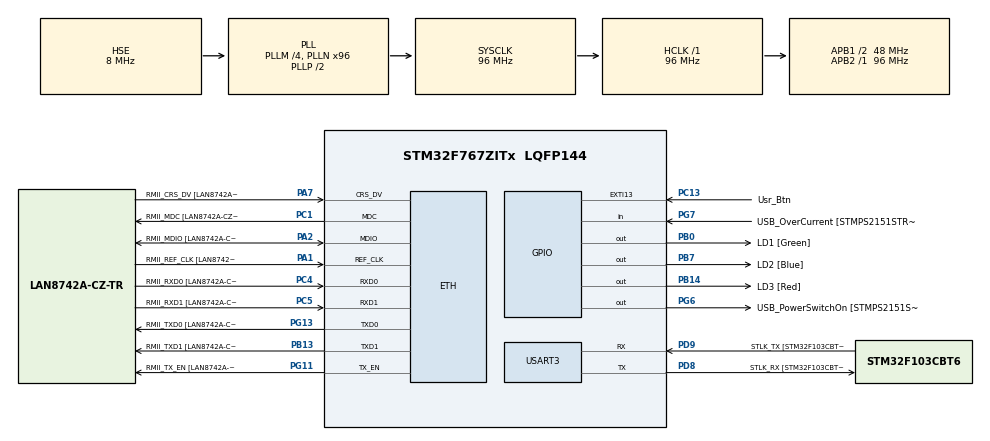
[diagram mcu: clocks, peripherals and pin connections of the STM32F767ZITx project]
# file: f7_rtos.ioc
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ETH.MediaInterface=ETH_MEDIA_INTERFACE_RMII
ETH.PHY_Name=LAN8742A_PHY_ADDRESS
ETH.PHY_Value=0
ETH.PhyAddress=0
FREERTOS.Tasks01=defaultTask,0,128,StartDefaultTask,Default,NULL
Mcu.Family=STM32F7
Mcu.Name=STM32F767ZITx
Mcu.Package=LQFP144
NVIC.EXTI15_10_IRQn=true\:5\:0\:false\:false\:true\:true\:true
NVIC.PriorityGroup=NVIC_PRIORITYGROUP_4
NVIC.TIM1_UP_TIM10_IRQn=true\:0\:0\:false\:false\:true\:false\:false
NVIC.TimeBase=TIM1_UP_TIM10_IRQn
NVIC.TimeBaseIP=TIM1
PA1.GPIO_Label=RMII_REF_CLK [LAN8742A-CZ-TR_REFCLK0]
PA1.Mode=RMII
PA1.Signal=ETH_REF_CLK
PA10.GPIO_Label=USB_ID
PA10.Signal=USB_OTG_FS_ID
PA11.GPIO_Label=USB_DM
PA11.Signal=USB_OTG_FS_DM
PA12.GPIO_Label=USB_DP
PA12.Signal=USB_OTG_FS_DP
PA13.GPIO_Label=TMS
PA13.Mode=Serial_Wire
PA13.Signal=SYS_JTMS-SWDIO
PA14.GPIO_Label=TCK
PA14.Mode=Serial_Wire
PA14.Signal=SYS_JTCK-SWCLK
PA2.GPIO_Label=RMII_MDIO [LAN8742A-CZ-TR_MDIO]
PA2.Mode=RMII
PA2.Signal=ETH_MDIO
PA7.GPIO_Label=RMII_CRS_DV [LAN8742A-CZ-TR_CRS_DV]
PA7.Mode=RMII
PA7.Signal=ETH_CRS_DV
PA8.GPIO_Label=USB_SOF [TP1]
PA8.Signal=USB_OTG_FS_SOF
PA9.GPIO_Label=USB_VBUS
PA9.Signal=USB_OTG_FS_VBUS
PB0.GPIO_Label=LD1 [Green]
PB0.Signal=GPIO_Output
PB13.GPIO_Label=RMII_TXD1 [LAN8742A-CZ-TR_TXD1]
PB13.Mode=RMII
PB13.Signal=ETH_TXD1
PB14.GPIO_Label=LD3 [Red]
PB14.Signal=GPIO_Output
PB3.GPIO_Label=SWO
PB3.Signal=SYS_JTDO-SWO
PB7.GPIO_Label=LD2 [Blue]
PB7.Signal=GPIO_Output
PC1.GPIO_Label=RMII_MDC [LAN8742A-CZ-TR_MDC]
PC1.Mode=RMII
PC1.Signal=ETH_MDC
PC13.GPIO_Label=Usr_Btn
PC13.GPIO_ModeDefaultEXTI=GPIO_MODE_IT_RISING
PC13.Signal=GPXTI13
PC14/OSC32_IN.Mode=LSE-External-Oscillator
PC14/OSC32_IN.Signal=RCC_OSC32_IN
PC15/OSC32_OUT.Mode=LSE-External-Oscillator
PC15/OSC32_OUT.Signal=RCC_OSC32_OUT
PC4.GPIO_Label=RMII_RXD0 [LAN8742A-CZ-TR_RXD0]
PC4.Mode=RMII
PC4.Signal=ETH_RXD0
PC5.GPIO_Label=RMII_RXD1 [LAN8742A-CZ-TR_RXD1]
PC5.Mode=RMII
PC5.Signal=ETH_RXD1
PD8.GPIO_Label=STLK_RX [STM32F103CBT6_PA3]
PD8.Mode=Asynchronous
PD8.Signal=USART3_TX
PD9.GPIO_Label=STLK_TX [STM32F103CBT6_PA2]
PD9.Mode=Asynchronous
PD9.Signal=USART3_RX
PG11.GPIO_Label=RMII_TX_EN [LAN8742A-CZ-TR_TXEN]
PG11.Mode=RMII
PG11.Signal=ETH_TX_EN
PG13.GPIO_Label=RMII_TXD0 [LAN8742A-CZ-TR_TXD0]
PG13.Mode=RMII
PG13.Signal=ETH_TXD0
PG6.GPIO_Label=USB_PowerSwitchOn [STMPS2151STR_EN]
PG6.Signal=GPIO_Output
PG7.GPIO_Label=USB_OverCurrent [STMPS2151STR_FAULT]
PG7.Signal=GPIO_Input
PH0/OSC_IN.GPIO_Label=MCO [STM32F103CBT6_PA8]
PH0/OSC_IN.Mode=HSE-External-Clock-Source
PH0/OSC_IN.Signal=RCC_OSC_IN
PH1/OSC_OUT.Mode=HSE-External-Clock-Source
PH1/OSC_OUT.Signal=RCC_OSC_OUT
ProjectManager.HeapSize=0x200
ProjectManager.StackSize=0x400
ProjectManager.TargetToolchain=TrueSTUDIO
RCC.48MHZClocksFreq_Value=24000000
RCC.AHBFreq_Value=96000000
RCC.APB1CLKDivider=RCC_HCLK_DIV2
RCC.APB1Freq_Value=48000000
RCC.APB1TimFreq_Value=96000000
RCC.APB2Freq_Value=96000000
RCC.APB2TimFreq_Value=96000000
RCC.CortexFreq_Value=96000000
RCC.HCLKFreq_Value=96000000
RCC.HSE_VALUE=8000000
RCC.HSI_VALUE=16000000
RCC.PLLM=4
RCC.PLLMUL=RCC_PLL_MUL9
RCC.PLLN=96
RCC.PLLQ=4
RCC.PLLSourceVirtual=RCC_PLLSOURCE_HSE
RCC.PRESCALERUSB=RCC_USBCLKSOURCE_PLL_DIV1_5
RCC.SYSCLKFreq_VALUE=96000000
RCC.SYSCLKSource=RCC_SYSCLKSOURCE_PLLCLK
RCC.SYSCLKSourceVirtual=RCC_SYSCLKSOURCE_PLLCLK
RCC.USBFreq_Value=48000000
RCC.VCOOutputFreq_Value=192000000
USART3.VirtualMode-Asynchronous=VM_ASYNC
VP_FREERTOS_VS_ENABLE.Mode=Enabled
VP_SYS_VS_tim1.Mode=TIM1
board=NUCLEO-F767ZI

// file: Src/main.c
/* USER CODE BEGIN Header */
/**
  ******************************************************************************
  * @file           : main.c
  * @brief          : Main program body
  ******************************************************************************
  * This notice applies to any and all portions of this file
  * that are not between comment pairs USER CODE BEGIN and
  * USER CODE END. Other portions of this file, whether
  * inserted by the user or by software development tools
  * are owned by their respective copyright owners.
  *
  * Copyright (c) 2019 STMicroelectronics International N.V.
  * All rights reserved.
  *
  * Redistribution and use in source and binary forms, with or without
  * modification, are permitted, provided that the following conditions are met:
  *
  * 1. Redistribution of source code must retain the above copyright notice,
  *    this list of conditions and the following disclaimer.
  * 2. Redistributions in binary form must reproduce the above copyright notice,
  *    this list of conditions and the following disclaimer in the documentation
  *    and/or other materials provided with the distribution.
  * 3. Neither the name of STMicroelectronics nor the names of other
  *    contributors to this software may be used to endorse or promote products
  *    derived from this software without specific written permission.
  * 4. This software, including modifications and/or derivative works of this
  *    software, must execute solely and exclusively on microcontroller or
  *    microprocessor devices manufactured by or for STMicroelectronics.
  * 5. Redistribution and use of this software other than as permitted under
  *    this license is void and will automatically terminate your rights under
  *    this license.
  *
  * THIS SOFTWARE IS PROVIDED BY STMICROELECTRONICS AND CONTRIBUTORS "AS IS"
  * AND ANY EXPRESS, IMPLIED OR STATUTORY WARRANTIES, INCLUDING, BUT NOT
  * LIMITED TO, THE IMPLIED WARRANTIES OF MERCHANTABILITY, FITNESS FOR A
  * PARTICULAR PURPOSE AND NON-INFRINGEMENT OF THIRD PARTY INTELLECTUAL PROPERTY
  * RIGHTS ARE DISCLAIMED TO THE FULLEST EXTENT PERMITTED BY LAW. IN NO EVENT
  * SHALL STMICROELECTRONICS OR CONTRIBUTORS BE LIABLE FOR ANY DIRECT, INDIRECT,
  * INCIDENTAL, SPECIAL, EXEMPLARY, OR CONSEQUENTIAL DAMAGES (INCLUDING, BUT NOT
  * LIMITED TO, PROCUREMENT OF SUBSTITUTE GOODS OR SERVICES; LOSS OF USE, DATA,
  * OR PROFITS; OR BUSINESS INTERRUPTION) HOWEVER CAUSED AND ON ANY THEORY OF
  * LIABILITY, WHETHER IN CONTRACT, STRICT LIABILITY, OR TORT (INCLUDING
  * NEGLIGENCE OR OTHERWISE) ARISING IN ANY WAY OUT OF THE USE OF THIS SOFTWARE,
  * EVEN IF ADVISED OF THE POSSIBILITY OF SUCH DAMAGE.
  *
  ******************************************************************************
  */
/* USER CODE END Header */

#include "main.h"
#include "cmsis_os.h"

ETH_HandleTypeDef heth;

UART_HandleTypeDef huart3;

osThreadId defaultTaskHandle;
/* USER CODE BEGIN PV */
int delaytime = 500 / portTICK_PERIOD_MS;
uint16_t ledBank[] = {GPIO_PIN_0, GPIO_PIN_14, GPIO_PIN_7};
int idx = 0;
int state = 0;
SemaphoreHandle_t btnPressed;
/* USER CODE END PV */

void SystemClock_Config(void);
static void MX_GPIO_Init(void);
static void MX_ETH_Init(void);
static void MX_USART3_UART_Init(void);
void StartDefaultTask(void const * argument);

/* USER CODE BEGIN PFP */
void blinkRed();
void blinkBlue();
void blinkGreen();
/* USER CODE END PFP */

int main(void)
{

  /* MCU Configuration--------------------------------------------------------*/

  /* Reset of all peripherals, Initializes the Flash interface and the Systick. */
  HAL_Init();

  /* Configure the system clock */
  SystemClock_Config();

  /* Initialize all configured peripherals */
  MX_GPIO_Init();
  MX_ETH_Init();
  MX_USART3_UART_Init();

  /* USER CODE BEGIN RTOS_SEMAPHORES */
  btnPressed = xSemaphoreCreateBinary();
  /* USER CODE END RTOS_SEMAPHORES */

  /* Create the thread(s) */
  /* definition and creation of defaultTask */
  osThreadDef(defaultTask, StartDefaultTask, osPriorityNormal, 0, 128);
  defaultTaskHandle = osThreadCreate(osThread(defaultTask), NULL);

  /* USER CODE BEGIN RTOS_THREADS */
  xTaskCreate(blinkRed, "blinkRed", 100, NULL, 1, NULL);
  xTaskCreate(blinkGreen, "blinkGreen", 100, NULL, 1, NULL);
  xTaskCreate(blinkBlue, "blinkBlue", 100, NULL, 1, NULL);

  /* USER CODE END RTOS_THREADS */

  /* Start scheduler */
  osKernelStart();

  /* We should never get here as control is now taken by the scheduler */

  /* Infinite loop */
  while (1)
  {

  }
}

void SystemClock_Config(void)
{
  RCC_OscInitTypeDef RCC_OscInitStruct = {0};
  RCC_ClkInitTypeDef RCC_ClkInitStruct = {0};
  RCC_PeriphCLKInitTypeDef PeriphClkInitStruct = {0};

  /**Configure LSE Drive Capability
  */
  HAL_PWR_EnableBkUpAccess();
  /**Configure the main internal regulator output voltage
  */
  __HAL_RCC_PWR_CLK_ENABLE();
  __HAL_PWR_VOLTAGESCALING_CONFIG(PWR_REGULATOR_VOLTAGE_SCALE3);
  /**Initializes the CPU, AHB and APB busses clocks
  */
  RCC_OscInitStruct.OscillatorType = RCC_OSCILLATORTYPE_HSE;
  RCC_OscInitStruct.HSEState = RCC_HSE_BYPASS;
  RCC_OscInitStruct.PLL.PLLState = RCC_PLL_ON;
  RCC_OscInitStruct.PLL.PLLSource = RCC_PLLSOURCE_HSE;
  RCC_OscInitStruct.PLL.PLLM = 4;
  RCC_OscInitStruct.PLL.PLLN = 96;
  RCC_OscInitStruct.PLL.PLLP = RCC_PLLP_DIV2;
  RCC_OscInitStruct.PLL.PLLQ = 4;
  if (HAL_RCC_OscConfig(&RCC_OscInitStruct) != HAL_OK)
  {
    Error_Handler();
  }
  /**Activate the Over-Drive mode
  */
  if (HAL_PWREx_EnableOverDrive() != HAL_OK)
  {
    Error_Handler();
  }
  /**Initializes the CPU, AHB and APB busses clocks
  */
  RCC_ClkInitStruct.ClockType = RCC_CLOCKTYPE_HCLK|RCC_CLOCKTYPE_SYSCLK
                              |RCC_CLOCKTYPE_PCLK1|RCC_CLOCKTYPE_PCLK2;
  RCC_ClkInitStruct.SYSCLKSource = RCC_SYSCLKSOURCE_PLLCLK;
  RCC_ClkInitStruct.AHBCLKDivider = RCC_SYSCLK_DIV1;
  RCC_ClkInitStruct.APB1CLKDivider = RCC_HCLK_DIV2;
  RCC_ClkInitStruct.APB2CLKDivider = RCC_HCLK_DIV1;

  if (HAL_RCC_ClockConfig(&RCC_ClkInitStruct, FLASH_LATENCY_3) != HAL_OK)
  {
    Error_Handler();
  }
  PeriphClkInitStruct.PeriphClockSelection = RCC_PERIPHCLK_USART3;
  PeriphClkInitStruct.Usart3ClockSelection = RCC_USART3CLKSOURCE_PCLK1;
  if (HAL_RCCEx_PeriphCLKConfig(&PeriphClkInitStruct) != HAL_OK)
  {
    Error_Handler();
  }
}

static void MX_ETH_Init(void)
{

   uint8_t MACAddr[6] ;

  heth.Instance = ETH;
  heth.Init.AutoNegotiation = ETH_AUTONEGOTIATION_ENABLE;
  heth.Init.PhyAddress = LAN8742A_PHY_ADDRESS;
  MACAddr[0] = 0x00;
  MACAddr[1] = 0x80;
  MACAddr[2] = 0xE1;
  MACAddr[3] = 0x00;
  MACAddr[4] = 0x00;
  MACAddr[5] = 0x00;
  heth.Init.MACAddr = &MACAddr[0];
  heth.Init.RxMode = ETH_RXPOLLING_MODE;
  heth.Init.ChecksumMode = ETH_CHECKSUM_BY_HARDWARE;
  heth.Init.MediaInterface = ETH_MEDIA_INTERFACE_RMII;

  if (HAL_ETH_Init(&heth) != HAL_OK)
  {
    Error_Handler();
  }

}

static void MX_USART3_UART_Init(void)
{

  huart3.Instance = USART3;
  huart3.Init.BaudRate = 115200;
  huart3.Init.WordLength = UART_WORDLENGTH_8B;
  huart3.Init.StopBits = UART_STOPBITS_1;
  huart3.Init.Parity = UART_PARITY_NONE;
  huart3.Init.Mode = UART_MODE_TX_RX;
  huart3.Init.HwFlowCtl = UART_HWCONTROL_NONE;
  huart3.Init.OverSampling = UART_OVERSAMPLING_16;
  huart3.Init.OneBitSampling = UART_ONE_BIT_SAMPLE_DISABLE;
  huart3.AdvancedInit.AdvFeatureInit = UART_ADVFEATURE_NO_INIT;
  if (HAL_UART_Init(&huart3) != HAL_OK)
  {
    Error_Handler();
  }

}

static void MX_GPIO_Init(void)
{
  GPIO_InitTypeDef GPIO_InitStruct = {0};

  /* GPIO Ports Clock Enable */
  __HAL_RCC_GPIOC_CLK_ENABLE();
  __HAL_RCC_GPIOH_CLK_ENABLE();
  __HAL_RCC_GPIOA_CLK_ENABLE();
  __HAL_RCC_GPIOB_CLK_ENABLE();
  __HAL_RCC_GPIOD_CLK_ENABLE();
  __HAL_RCC_GPIOG_CLK_ENABLE();

  /*Configure GPIO pin Output Level */
  HAL_GPIO_WritePin(GPIOB, LD1_Pin|LD3_Pin|LD2_Pin, GPIO_PIN_RESET);

  /*Configure GPIO pin Output Level */
  HAL_GPIO_WritePin(USB_PowerSwitchOn_GPIO_Port, USB_PowerSwitchOn_Pin, GPIO_PIN_RESET);

  /*Configure GPIO pin : Usr_Btn_Pin */
  GPIO_InitStruct.Pin = Usr_Btn_Pin;
  GPIO_InitStruct.Mode = GPIO_MODE_IT_RISING;
  GPIO_InitStruct.Pull = GPIO_NOPULL;
  HAL_GPIO_Init(Usr_Btn_GPIO_Port, &GPIO_InitStruct);

  /*Configure GPIO pins : LD1_Pin LD3_Pin LD2_Pin */
  GPIO_InitStruct.Pin = LD1_Pin|LD3_Pin|LD2_Pin;
  GPIO_InitStruct.Mode = GPIO_MODE_OUTPUT_PP;
  GPIO_InitStruct.Pull = GPIO_NOPULL;
  GPIO_InitStruct.Speed = GPIO_SPEED_FREQ_LOW;
  HAL_GPIO_Init(GPIOB, &GPIO_InitStruct);

  /*Configure GPIO pin : USB_PowerSwitchOn_Pin */
  GPIO_InitStruct.Pin = USB_PowerSwitchOn_Pin;
  GPIO_InitStruct.Mode = GPIO_MODE_OUTPUT_PP;
  GPIO_InitStruct.Pull = GPIO_NOPULL;
  GPIO_InitStruct.Speed = GPIO_SPEED_FREQ_LOW;
  HAL_GPIO_Init(USB_PowerSwitchOn_GPIO_Port, &GPIO_InitStruct);

  /*Configure GPIO pin : USB_OverCurrent_Pin */
  GPIO_InitStruct.Pin = USB_OverCurrent_Pin;
  GPIO_InitStruct.Mode = GPIO_MODE_INPUT;
  GPIO_InitStruct.Pull = GPIO_NOPULL;
  HAL_GPIO_Init(USB_OverCurrent_GPIO_Port, &GPIO_InitStruct);

  /*Configure GPIO pins : USB_SOF_Pin USB_ID_Pin USB_DM_Pin USB_DP_Pin */
  GPIO_InitStruct.Pin = USB_SOF_Pin|USB_ID_Pin|USB_DM_Pin|USB_DP_Pin;
  GPIO_InitStruct.Mode = GPIO_MODE_AF_PP;
  GPIO_InitStruct.Pull = GPIO_NOPULL;
  GPIO_InitStruct.Speed = GPIO_SPEED_FREQ_VERY_HIGH;
  GPIO_InitStruct.Alternate = GPIO_AF10_OTG_FS;
  HAL_GPIO_Init(GPIOA, &GPIO_InitStruct);

  /*Configure GPIO pin : USB_VBUS_Pin */
  GPIO_InitStruct.Pin = USB_VBUS_Pin;
  GPIO_InitStruct.Mode = GPIO_MODE_INPUT;
  GPIO_InitStruct.Pull = GPIO_NOPULL;
  HAL_GPIO_Init(USB_VBUS_GPIO_Port, &GPIO_InitStruct);

  /* EXTI interrupt init*/
  HAL_NVIC_SetPriority(EXTI15_10_IRQn, 5, 0);
  HAL_NVIC_EnableIRQ(EXTI15_10_IRQn);

}

/* USER CODE BEGIN 4 */
void blinkRed(){
	if(xSemaphoreTake(btnPressed, 100/portTICK_PERIOD_MS) == pdTRUE){
		while(1) {
			HAL_GPIO_TogglePin(GPIOB, ledBank[2]);
			vTaskDelay(delaytime);
		}
		vTaskDelete(NULL);
	}
}
void blinkBlue(){
	if(xSemaphoreTake(btnPressed, 100/portTICK_PERIOD_MS) == pdTRUE){
		while(1) {
			HAL_GPIO_TogglePin(GPIOB, ledBank[1]);
			vTaskDelay(delaytime);
		}
		vTaskDelete(NULL);
	}
}
void blinkGreen(){
	if(1){
		while(1) {
			HAL_GPIO_TogglePin(GPIOB, ledBank[0]);
			vTaskDelay(delaytime);
		}
		vTaskDelete(NULL);
	}
}
/* USER CODE END 4 */

void StartDefaultTask(void const * argument)
{

  for(;;)
  {
    osDelay(1);
  }
}

void HAL_TIM_PeriodElapsedCallback(TIM_HandleTypeDef *htim)
{
  if (htim->Instance == TIM1) {
    HAL_IncTick();
  }
}

void Error_Handler(void)
{
}

/************************ (C) COPYRIGHT STMicroelectronics *****END OF FILE****/
